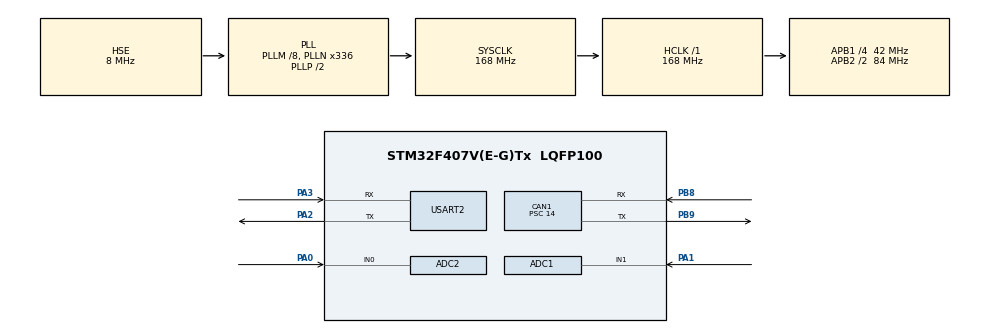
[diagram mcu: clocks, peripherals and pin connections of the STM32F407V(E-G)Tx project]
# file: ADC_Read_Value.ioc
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ADC1.Channel-0\#ChannelRegularConversion=ADC_CHANNEL_1
ADC1.NbrOfConversionFlag=1
ADC1.Rank-0\#ChannelRegularConversion=1
ADC1.SamplingTime-0\#ChannelRegularConversion=ADC_SAMPLETIME_56CYCLES
ADC1.master=1
ADC2.Channel-0\#ChannelRegularConversion=ADC_CHANNEL_0
ADC2.NbrOfConversionFlag=1
ADC2.Rank-0\#ChannelRegularConversion=1
ADC2.SamplingTime-0\#ChannelRegularConversion=ADC_SAMPLETIME_56CYCLES
CAN1.BS1=CAN_BS1_9TQ
CAN1.BS2=CAN_BS2_2TQ
CAN1.CalculateBaudRate=249999
CAN1.CalculateTimeBit=4000
CAN1.CalculateTimeQuantum=333.33333333333337
CAN1.Prescaler=14
Mcu.Family=STM32F4
Mcu.Name=STM32F407V(E-G)Tx
Mcu.Package=LQFP100
NVIC.PriorityGroup=NVIC_PRIORITYGROUP_0
PA0-WKUP.Signal=ADCx_IN0
PA1.Signal=ADCx_IN1
PA2.Mode=Asynchronous
PA2.Signal=USART2_TX
PA3.Mode=Asynchronous
PA3.Signal=USART2_RX
PB8.Mode=CAN_Activate
PB8.Signal=CAN1_RX
PB9.Mode=CAN_Activate
PB9.Signal=CAN1_TX
PH0-OSC_IN.Mode=HSE-External-Oscillator
PH0-OSC_IN.Signal=RCC_OSC_IN
PH1-OSC_OUT.Mode=HSE-External-Oscillator
PH1-OSC_OUT.Signal=RCC_OSC_OUT
ProjectManager.HeapSize=0x200
ProjectManager.StackSize=0x400
ProjectManager.TargetToolchain=STM32CubeIDE
RCC.48MHZClocksFreq_Value=48000000
RCC.AHBFreq_Value=168000000
RCC.APB1CLKDivider=RCC_HCLK_DIV4
RCC.APB1Freq_Value=42000000
RCC.APB1TimCLKDivider=2
RCC.APB1TimFreq_Value=84000000
RCC.APB2CLKDivider=RCC_HCLK_DIV2
RCC.APB2Freq_Value=84000000
RCC.APB2TimFreq_Value=168000000
RCC.CortexFreq_Value=168000000
RCC.HCLKFreq_Value=168000000
RCC.HSE_VALUE=8000000
RCC.HSI_VALUE=16000000
RCC.LSE_VALUE=32768
RCC.PLLM=8
RCC.PLLN=336
RCC.PLLQ=7
RCC.PLLSourceVirtual=RCC_PLLSOURCE_HSE
RCC.SYSCLKFreq_VALUE=168000000
RCC.SYSCLKSource=RCC_SYSCLKSOURCE_PLLCLK
RCC.VCOOutputFreq_Value=336000000
SH.ADCx_IN0.0=ADC2_IN0,IN0
SH.ADCx_IN1.0=ADC1_IN1,IN1
USART2.VirtualMode=VM_ASYNC
board=STM32F407G-DISC1

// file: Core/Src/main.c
/* USER CODE BEGIN Header */
/**
  ******************************************************************************
  * @file           : main.c
  * @brief          : Main program body
  ******************************************************************************
  * @attention
  *
  * Copyright (c) 2025 STMicroelectronics.
  * All rights reserved.
  *
  * This software is licensed under terms that can be found in the LICENSE file
  * in the root directory of this software component.
  * If no LICENSE file comes with this software, it is provided AS-IS.
  *
  ******************************************************************************
  */
/* USER CODE END Header */
#include "main.h"
#include "math.h" //fabs fonksiyonu için

ADC_HandleTypeDef hadc1; //ADC1 yapılandırması
ADC_HandleTypeDef hadc2; //ADC2 yapılandırması

CAN_HandleTypeDef hcan1; //CAN1 yapılandırması

UART_HandleTypeDef huart2; //USART2 yapılandırması

/* USER CODE BEGIN PV */
//CAN mesajı için değişkenler
CAN_TxHeaderTypeDef Txheader;
CAN_RxHeaderTypeDef Rxheader;

uint8_t TxData[8];
uint8_t RxData[8];
uint32_t TxMailbox;

// ADC okuma için değişkenler
uint16_t adc_value, adc_value_2 = 0;
float adc_voltage, adc_voltage_2 = 0;
float v_real1 = 0.0f, v_real2 = 0.0f;
float percent1 = 0.0f, percent2 = 0.0f;

void HAL_CAN_RxFifo0MsgPendingCallback(CAN_HandleTypeDef *hcan)
{
    if(hcan == &hcan1)
    {
        HAL_CAN_GetRxMessage(hcan, CAN_RX_FIFO0, &Rxheader, RxData);

    }
}

/* USER CODE END PV */

void SystemClock_Config(void);
static void MX_GPIO_Init(void);
static void MX_ADC1_Init(void);
static void MX_CAN1_Init(void);
static void MX_USART2_UART_Init(void);
static void MX_ADC2_Init(void);

/* USER CODE BEGIN 0 */
// Voltaj bölücü katsayısı yaklaşık 1.59
// ADC_Volt * SCALE = Gerçek_Volt
#define SCALE   1.59

// Pedal aralıkları (volt cinsinden)
#define APPS1_MIN   0.5
#define APPS1_MAX   4.5
#define APPS2_MIN   0.5
#define APPS2_MAX   4.5

// Implausibility / fault parametreleri
#define APPS_IMPLAUS_THRESHOLD  10.0f // Yüzde cinsinden
#define APPS_IMPLAUS_PERSIST_MS 100 // 100 ms şartı (kural)
#define SHORTCIRCUIT_VOLT_TOLERANCE 0.02f // Voltaj toleransı (volt cinsinden)
#define SHORTCIRCUIT_PERSIST_MS 100 // 100 ms şartı (kural)

// Status bits (TxData[6])
// bit0 = 1 => implausibility latched (100ms geçti)
// bit1 = 1 => sensor1 fault (out of range)
// bit2 = 1 => sensor2 fault (out of range)
// bit3 = 1 => short-circuit suspected
// diğer bitler rezerv

// Status bits ve fault latch için değişkenler
uint8_t status_bits = 0;// CAN mesajında gönderilecek status byte

//fault latch
uint8_t implaus_latched = 0; // APPS implausibility fault latch
uint32_t implaus_start_time = 0;
uint32_t shortcircuit_start_time = 0;

uint8_t shortc_suspected = 0;

// Yüzde hesaplama fonksiyonu
float apps_to_percent(float v_real, float v_min, float v_max){
	float percent = ((v_real - v_min) / (v_max - v_min)) * 100.0f;
	    if (percent < 0) percent = 0;
	    if (percent > 100) percent = 100;
	    return percent;
}

//sensör voltajının beklenen aralıkta olup olmadığını kontrol et
uint8_t is_voltage_in_range(float v, float v_min, float v_max, float tolerance){
	if(v < (v_min - tolerance) || v > (v_max + tolerance)){
		return 0; // out of range
	}
	else{
		return 1; // in range
	}
}
/* USER CODE END 0 */

int main(void)
{

  /* MCU Configuration--------------------------------------------------------*/

  /* Reset of all peripherals, Initializes the Flash interface and the Systick. */
  HAL_Init();

  /* Configure the system clock */
  SystemClock_Config();

  /* Initialize all configured peripherals */
  MX_GPIO_Init();
  MX_ADC1_Init();
  MX_CAN1_Init();
  MX_USART2_UART_Init();
  MX_ADC2_Init();
  /* USER CODE BEGIN 2 */
  HAL_CAN_Start(&hcan1);
  HAL_CAN_ActivateNotification(&hcan1, CAN_IT_RX_FIFO0_MSG_PENDING);

  //CAN mesajı header ayarları
  Txheader.DLC = 4;
  Txheader.StdId =0x111;
  Txheader.IDE = CAN_ID_STD;
  Txheader.RTR = CAN_RTR_DATA;

  /* USER CODE END 2 */

  /* Infinite loop */
  while (1)
  {

    /* USER CODE BEGIN 3 */

	  //ADC1'den veri okuma
	  HAL_ADC_Start(&hadc1);

	  if(HAL_ADC_PollForConversion(&hadc1, 1000) == HAL_OK){
	  adc_value = HAL_ADC_GetValue(&hadc1);
	  adc_voltage = adc_value*3.3/4095; //ADC->volt dönüşümü
	  v_real1 = adc_voltage * SCALE; //gerçek voltaj
	  percent1 = apps_to_percent(v_real1, APPS1_MIN, APPS1_MAX);
	  }
	  HAL_ADC_Stop(&hadc1);

	  //ADC2'den veri okuma
	  HAL_ADC_Start(&hadc2);

	  if(HAL_ADC_PollForConversion(&hadc2, 1000) == HAL_OK){
		  adc_value_2 = HAL_ADC_GetValue(&hadc2);
		  adc_voltage_2 = adc_value_2*3.3/4095;
		  v_real2 = adc_voltage_2 * SCALE;
		  percent2 = apps_to_percent(v_real2, APPS2_MIN, APPS2_MAX);
	  }
	  HAL_ADC_Stop(&hadc2);

	  status_bits = 0; // her döngüde status bitlerini sıfırla

	  //sensör voltaj aralığında mı kontrol et
	  float tolerance = 0.1f; // 100mV tolerans
	  if(!is_voltage_in_range(v_real1, APPS1_MIN, APPS1_MAX, tolerance)){
		  status_bits |= 0x02; // sensor1 fault
	  }
	  if(!is_voltage_in_range(v_real2, APPS2_MIN, APPS2_MAX, tolerance)){
		  status_bits |= 0x04; // sensor2 fault
	  }

	  // APPS implausibility
	  float diff = fabsf(percent1 - percent2);

	  uint32_t current_time = HAL_GetTick();
	  if(diff > APPS_IMPLAUS_THRESHOLD || (status_bits & 0x06) != 0){
		  // implausibility başladı
		  if(implaus_start_time == 0){
			  implaus_start_time = current_time;
		  }
		  //100 ms geçtiyse latchle
		  if(implaus_latched == 0 && (current_time - implaus_start_time) >= APPS_IMPLAUS_PERSIST_MS){
			  implaus_latched = 1; // latch the fault
			  status_bits |= 0x01; // implausibility latched
			  //motor controller'a CAN ile bildirim gönder (aşağıda Tx gönderiliyor)

		  }
	} else{
		  // implausibility yok
		  implaus_start_time = 0;
	  }
	  //Short-circuit benzeri durum tespiti
	  if(fabsf(v_real1 - v_real2) < SHORTCIRCUIT_VOLT_TOLERANCE){
		  // short-circuit benzeri durum başladı
		  if(shortcircuit_start_time == 0){
			  shortcircuit_start_time = current_time;
		  }
		  //100 ms geçtiyse şüpheli olarak işaretle
		  if(shortc_suspected == 0 && (current_time - shortcircuit_start_time) >= SHORTCIRCUIT_PERSIST_MS){
			  shortc_suspected = 1;
			  status_bits |= 0x08; // short-circuit suspected
			  //motor controller'a CAN ile bildirim gönder (aşağıda Tx gönderiliyor)

		  }
	  } else{
		  // short-circuit benzeri durum yok
		  shortcircuit_start_time = 0;
		  shortc_suspected = 0;
	  }
//	  Afully released check: eğer manuel moddaysa (kodda manual kontrol yok) fren/idle gereksinimi
//      Kural: tamamen bırakılmış pedal (0%) -> EV: wheel torque <= 0Nm.
//      Burada sadece yardımcı status gönderiyoruz; gerçek torque kesmeyi motor controller yapmalı.
	  if(percent1 < 1.0f && percent2 < 1.0f){
		  // tamamen bırakılmış
		  // ek bir status biti ayarlanabilir (örneğin bit4)
		  status_bits |= 0x10; // fully released
	  }

	  /*     CAN mesajı gönderimi
	         TxData[0] = percent1 (0-100)
	         TxData[1] = percent2
	         TxData[2..5] = raw ADCs (little endian)
	         TxData[6] = status byte
	         TxData[7] = reserved/checksum (opsiyonel)
	      */

	  TxData[0] = (uint8_t)(percent1 + 0.5f); // yuvarlama için 0.5 ekle
	  TxData[1] = (uint8_t)(percent2 + 0.5f);
	  TxData[2] = (uint8_t)(adc_value & 0xFF);
	  TxData[3] = (uint8_t)((adc_value >> 8) & 0xFF);
	  TxData[4] = (uint8_t)(adc_value_2 & 0xFF);
	  TxData[5] = (uint8_t)((adc_value_2 >> 8) & 0xFF);
	  TxData[6] = status_bits;
	  TxData[7] = 0; // future use / checksum

	  HAL_CAN_AddTxMessage(&hcan1, &Txheader, TxData, &TxMailbox);

	  HAL_Delay(10);

  }
  /* USER CODE END 3 */
}

void SystemClock_Config(void)
{
  RCC_OscInitTypeDef RCC_OscInitStruct = {0};
  RCC_ClkInitTypeDef RCC_ClkInitStruct = {0};

  /** Configure the main internal regulator output voltage
  */
  __HAL_RCC_PWR_CLK_ENABLE();
  __HAL_PWR_VOLTAGESCALING_CONFIG(PWR_REGULATOR_VOLTAGE_SCALE1);

  /** Initializes the RCC Oscillators according to the specified parameters
  * in the RCC_OscInitTypeDef structure.
  */
  RCC_OscInitStruct.OscillatorType = RCC_OSCILLATORTYPE_HSE;
  RCC_OscInitStruct.HSEState = RCC_HSE_ON;
  RCC_OscInitStruct.PLL.PLLState = RCC_PLL_ON;
  RCC_OscInitStruct.PLL.PLLSource = RCC_PLLSOURCE_HSE;
  RCC_OscInitStruct.PLL.PLLM = 8;
  RCC_OscInitStruct.PLL.PLLN = 336;
  RCC_OscInitStruct.PLL.PLLP = RCC_PLLP_DIV2;
  RCC_OscInitStruct.PLL.PLLQ = 7;
  if (HAL_RCC_OscConfig(&RCC_OscInitStruct) != HAL_OK)
  {
    Error_Handler();
  }

  /** Initializes the CPU, AHB and APB buses clocks
  */
  RCC_ClkInitStruct.ClockType = RCC_CLOCKTYPE_HCLK|RCC_CLOCKTYPE_SYSCLK
                              |RCC_CLOCKTYPE_PCLK1|RCC_CLOCKTYPE_PCLK2;
  RCC_ClkInitStruct.SYSCLKSource = RCC_SYSCLKSOURCE_PLLCLK;
  RCC_ClkInitStruct.AHBCLKDivider = RCC_SYSCLK_DIV1;
  RCC_ClkInitStruct.APB1CLKDivider = RCC_HCLK_DIV4;
  RCC_ClkInitStruct.APB2CLKDivider = RCC_HCLK_DIV2;

  if (HAL_RCC_ClockConfig(&RCC_ClkInitStruct, FLASH_LATENCY_5) != HAL_OK)
  {
    Error_Handler();
  }
}

static void MX_ADC1_Init(void)
{

  ADC_ChannelConfTypeDef sConfig = {0};

  /** Configure the global features of the ADC (Clock, Resolution, Data Alignment and number of conversion)
  */
  hadc1.Instance = ADC1;
  hadc1.Init.ClockPrescaler = ADC_CLOCK_SYNC_PCLK_DIV4;
  hadc1.Init.Resolution = ADC_RESOLUTION_12B;
  hadc1.Init.ScanConvMode = DISABLE;
  hadc1.Init.ContinuousConvMode = DISABLE;
  hadc1.Init.DiscontinuousConvMode = DISABLE;
  hadc1.Init.ExternalTrigConvEdge = ADC_EXTERNALTRIGCONVEDGE_NONE;
  hadc1.Init.ExternalTrigConv = ADC_SOFTWARE_START;
  hadc1.Init.DataAlign = ADC_DATAALIGN_RIGHT;
  hadc1.Init.NbrOfConversion = 1;
  hadc1.Init.DMAContinuousRequests = DISABLE;
  hadc1.Init.EOCSelection = ADC_EOC_SINGLE_CONV;
  if (HAL_ADC_Init(&hadc1) != HAL_OK)
  {
    Error_Handler();
  }

  /** Configure for the selected ADC regular channel its corresponding rank in the sequencer and its sample time.
  */
  sConfig.Channel = ADC_CHANNEL_1;
  sConfig.Rank = 1;
  sConfig.SamplingTime = ADC_SAMPLETIME_56CYCLES;
  if (HAL_ADC_ConfigChannel(&hadc1, &sConfig) != HAL_OK)
  {
    Error_Handler();
  }

}

static void MX_ADC2_Init(void)
{

  ADC_ChannelConfTypeDef sConfig = {0};

  /** Configure the global features of the ADC (Clock, Resolution, Data Alignment and number of conversion)
  */
  hadc2.Instance = ADC2;
  hadc2.Init.ClockPrescaler = ADC_CLOCK_SYNC_PCLK_DIV4;
  hadc2.Init.Resolution = ADC_RESOLUTION_12B;
  hadc2.Init.ScanConvMode = DISABLE;
  hadc2.Init.ContinuousConvMode = DISABLE;
  hadc2.Init.DiscontinuousConvMode = DISABLE;
  hadc2.Init.ExternalTrigConvEdge = ADC_EXTERNALTRIGCONVEDGE_NONE;
  hadc2.Init.ExternalTrigConv = ADC_SOFTWARE_START;
  hadc2.Init.DataAlign = ADC_DATAALIGN_RIGHT;
  hadc2.Init.NbrOfConversion = 1;
  hadc2.Init.DMAContinuousRequests = DISABLE;
  hadc2.Init.EOCSelection = ADC_EOC_SINGLE_CONV;
  if (HAL_ADC_Init(&hadc2) != HAL_OK)
  {
    Error_Handler();
  }

  /** Configure for the selected ADC regular channel its corresponding rank in the sequencer and its sample time.
  */
  sConfig.Channel = ADC_CHANNEL_0;
  sConfig.Rank = 1;
  sConfig.SamplingTime = ADC_SAMPLETIME_56CYCLES;
  if (HAL_ADC_ConfigChannel(&hadc2, &sConfig) != HAL_OK)
  {
    Error_Handler();
  }

}

static void MX_CAN1_Init(void)
{

  hcan1.Instance = CAN1;
  hcan1.Init.Prescaler = 14;
  hcan1.Init.Mode = CAN_MODE_NORMAL;
  hcan1.Init.SyncJumpWidth = CAN_SJW_1TQ;
  hcan1.Init.TimeSeg1 = CAN_BS1_9TQ;
  hcan1.Init.TimeSeg2 = CAN_BS2_2TQ;
  hcan1.Init.TimeTriggeredMode = DISABLE;
  hcan1.Init.AutoBusOff = DISABLE;
  hcan1.Init.AutoWakeUp = DISABLE;
  hcan1.Init.AutoRetransmission = DISABLE;
  hcan1.Init.ReceiveFifoLocked = DISABLE;
  hcan1.Init.TransmitFifoPriority = DISABLE;
  if (HAL_CAN_Init(&hcan1) != HAL_OK)
  {
    Error_Handler();
  }
  /* USER CODE BEGIN CAN1_Init 2 */
  CAN_FilterTypeDef canfilterconfig;

  canfilterconfig.FilterActivation = ENABLE;
  canfilterconfig.FilterBank = 0;
  canfilterconfig.FilterFIFOAssignment = CAN_FILTER_FIFO0;
  canfilterconfig.FilterIdHigh = 0x000;
  canfilterconfig.FilterIdLow = 0x0000;
  canfilterconfig.FilterMaskIdHigh = 0x000;
  canfilterconfig.FilterMaskIdLow = 0x0000;
  canfilterconfig.FilterMode = CAN_FILTERMODE_IDMASK;
  canfilterconfig.FilterScale = CAN_FILTERSCALE_32BIT;

  HAL_CAN_ConfigFilter(&hcan1, &canfilterconfig);

  /* USER CODE END CAN1_Init 2 */

}

static void MX_USART2_UART_Init(void)
{

  huart2.Instance = USART2;
  huart2.Init.BaudRate = 115200;
  huart2.Init.WordLength = UART_WORDLENGTH_8B;
  huart2.Init.StopBits = UART_STOPBITS_1;
  huart2.Init.Parity = UART_PARITY_NONE;
  huart2.Init.Mode = UART_MODE_TX_RX;
  huart2.Init.HwFlowCtl = UART_HWCONTROL_NONE;
  huart2.Init.OverSampling = UART_OVERSAMPLING_16;
  if (HAL_UART_Init(&huart2) != HAL_OK)
  {
    Error_Handler();
  }

}

static void MX_GPIO_Init(void)
{

  /* GPIO Ports Clock Enable */
  __HAL_RCC_GPIOH_CLK_ENABLE();
  __HAL_RCC_GPIOA_CLK_ENABLE();
  __HAL_RCC_GPIOB_CLK_ENABLE();

}

void Error_Handler(void)
{
  __disable_irq();
  while (1)
  {
  }
}
